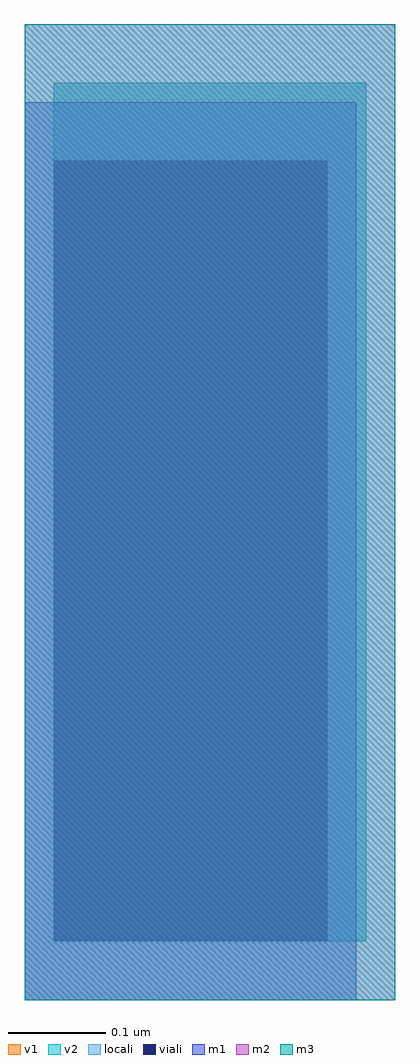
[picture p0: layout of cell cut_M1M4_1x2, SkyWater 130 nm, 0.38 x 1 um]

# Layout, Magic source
magic
tech sky130B
magscale 1 1
<< locali >>
rect 0 0 34 92
<< m1 >>
rect 0 0 34 92
<< m2 >>
rect 0 0 38 100
<< m3 >>
rect 0 0 38 100
<< viali >>
rect 3 6 31 86
<< v1 >>
rect 3 6 31 86
<< v2 >>
rect 3 6 35 94
<< labels >>
<< properties >>
string FIXED_BBOX 0 0 38 100
<< end >>
